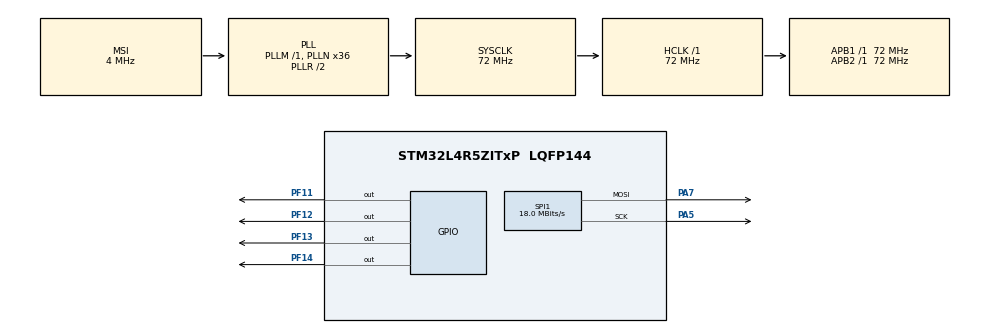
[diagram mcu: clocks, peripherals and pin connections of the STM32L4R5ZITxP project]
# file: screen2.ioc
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Dma.Request0=SPI1_TX
Dma.SPI1_TX.0.Direction=DMA_MEMORY_TO_PERIPH
Dma.SPI1_TX.0.EventEnable=DISABLE
Dma.SPI1_TX.0.Instance=DMA1_Channel1
Dma.SPI1_TX.0.MemDataAlignment=DMA_MDATAALIGN_BYTE
Dma.SPI1_TX.0.MemInc=DMA_MINC_ENABLE
Dma.SPI1_TX.0.Mode=DMA_NORMAL
Dma.SPI1_TX.0.PeriphDataAlignment=DMA_PDATAALIGN_BYTE
Dma.SPI1_TX.0.PeriphInc=DMA_PINC_DISABLE
Dma.SPI1_TX.0.Polarity=HAL_DMAMUX_REQUEST_GEN_RISING
Dma.SPI1_TX.0.Priority=DMA_PRIORITY_LOW
Dma.SPI1_TX.0.RequestNumber=1
Dma.SPI1_TX.0.SignalID=NONE
Dma.SPI1_TX.0.SyncEnable=DISABLE
Dma.SPI1_TX.0.SyncPolarity=HAL_DMAMUX_SYNC_NO_EVENT
Dma.SPI1_TX.0.SyncRequestNumber=1
Dma.SPI1_TX.0.SyncSignalID=NONE
Mcu.Family=STM32L4
Mcu.Name=STM32L4R5ZITxP
Mcu.Package=LQFP144
NVIC.DMA1_Channel1_IRQn=true\:0\:0\:false\:false\:true\:false\:true\:true
NVIC.PriorityGroup=NVIC_PRIORITYGROUP_4
PA0.Signal=S_TIM2_CH1
PA1.Signal=ADCx_IN6
PA10.Signal=USB_OTG_FS_ID
PA13\ (JTMS/SWDIO).Mode=Serial_Wire
PA13\ (JTMS/SWDIO).Signal=SYS_JTMS-SWDIO
PA14\ (JTCK/SWCLK).Mode=Serial_Wire
PA14\ (JTCK/SWCLK).Signal=SYS_JTCK-SWCLK
PA3.Signal=ADCx_IN8
PA4.Signal=SPI1_NSS
PA5.Mode=TX_Only_Simplex_Unidirect_Master
PA5.Signal=SPI1_SCK
PA6.Signal=SPI1_MISO
PA7.Mode=TX_Only_Simplex_Unidirect_Master
PA7.Signal=SPI1_MOSI
PA8.Signal=USB_OTG_FS_SOF
PA9.Signal=USB_OTG_FS_VBUS
PB0.Signal=S_TIM3_CH3
PB1.Signal=ADCx_IN16
PB10.Signal=S_TIM2_CH3
PB12.Signal=SAI2_FS_A
PB13.Signal=SAI2_SCK_A
PB14.Signal=S_TIM15_CH1
PB15.Signal=SAI2_SD_A
PB2.Signal=COMP1_INP
PB3\ (JTDO/TRACESWO).Signal=SPI3_SCK
PB4\ (NJTRST).Signal=SPI3_MISO
PB5.Signal=SPI3_MOSI
PB6.Signal=COMP2_INP
PB8.Signal=I2C1_SCL
PB9.Signal=I2C1_SDA
PC0.Signal=ADCx_IN1
PC1.Signal=ADCx_IN2
PC10.Signal=SDMMC1_D2
PC11.Signal=SDMMC1_D3
PC12.Signal=SDMMC1_CK
PC13.Signal=SYS_WKUP2
PC14-OSC32_IN\ (PC14).Signal=RCC_OSC32_IN
PC15-OSC32_OUT\ (PC15).Signal=RCC_OSC32_OUT
PC2.Signal=ADCx_IN3
PC3.Signal=ADCx_IN4
PC4.Signal=ADCx_IN13
PC5.Signal=ADCx_IN14
PC6.Signal=SAI2_MCLK_A
PC7.Signal=S_TIM3_CH2
PC8.Signal=SDMMC1_D0
PC9.Signal=SDMMC1_D1
PD0.Signal=CAN1_RX
PD14.Signal=S_TIM4_CH3
PD15.Signal=S_TIM4_CH4
PD2.Signal=SDMMC1_CMD
PD3.Signal=USART2_CTS
PD4.Signal=USART2_RTS
PD5.Signal=USART2_TX
PD6.Signal=USART2_RX
PD8.Signal=USART3_TX
PD9.Signal=USART3_RX
PE0.Signal=S_TIM4_ETR
PE10.Signal=TIM1_CH2N
PE11.Signal=S_TIM1_CH2
PE12.Signal=TIM1_CH3N
PE13.Signal=S_TIM1_CH3
PE14.Signal=TIM1_BKIN2
PE15.Signal=TIM1_BKIN
PE2.Signal=SAI1_MCLK_A
PE3.Signal=SAI1_SD_B
PE7.Signal=S_TIM1_ETR
PE8.Signal=TIM1_CH1N
PE9.Signal=S_TIM1_CH1
PF0.Signal=I2C2_SDA
PF1.Signal=I2C2_SCL
PF11.Signal=GPIO_Output
PF12.Signal=GPIO_Output
PF13.Signal=GPIO_Output
PF14.Signal=GPIO_Output
PF2.Signal=I2C2_SMBA
PF7.Signal=SAI1_MCLK_B
PG7.Signal=LPUART1_TX
PG8.Signal=LPUART1_RX
PH0-OSC_IN\ (PH0).Mode=HSE-External-Oscillator
PH0-OSC_IN\ (PH0).Signal=RCC_OSC_IN
PH1-OSC_OUT\ (PH1).Mode=HSE-External-Oscillator
PH1-OSC_OUT\ (PH1).Signal=RCC_OSC_OUT
ProjectManager.HeapSize=0x200
ProjectManager.StackSize=0x400
ProjectManager.TargetToolchain=STM32CubeIDE
RCC.AHBFreq_Value=72000000
RCC.APB1Freq_Value=72000000
RCC.APB1TimFreq_Value=72000000
RCC.APB2Freq_Value=72000000
RCC.APB2TimFreq_Value=72000000
RCC.CortexFreq_Value=72000000
RCC.HCLKFreq_Value=72000000
RCC.HSE_VALUE=8000000
RCC.HSI48_VALUE=48000000
RCC.HSI_VALUE=16000000
RCC.LSE_VALUE=32768
RCC.MSI_VALUE=4000000
RCC.PLLN=36
RCC.SYSCLKFreq_VALUE=72000000
RCC.SYSCLKSource=RCC_SYSCLKSOURCE_PLLCLK
RCC.VCOOutputFreq_Value=144000000
SH.ADCx_IN1.0=ADC1_IN1
SH.ADCx_IN13.0=ADC1_IN13
SH.ADCx_IN14.0=ADC1_IN14
SH.ADCx_IN16.0=ADC1_IN16
SH.ADCx_IN2.0=ADC1_IN2
SH.ADCx_IN3.0=ADC1_IN3
SH.ADCx_IN4.0=ADC1_IN4
SH.ADCx_IN6.0=ADC1_IN6
SH.ADCx_IN8.0=ADC1_IN8
SH.S_TIM15_CH1.0=TIM15_CH1
SH.S_TIM1_CH1.0=TIM1_CH1
SH.S_TIM1_CH2.0=TIM1_CH2
SH.S_TIM1_CH3.0=TIM1_CH3
SH.S_TIM1_ETR.0=TIM1_ETR
SH.S_TIM2_CH1.0=TIM2_CH1
SH.S_TIM2_CH3.0=TIM2_CH3
SH.S_TIM3_CH2.0=TIM3_CH2
SH.S_TIM3_CH3.0=TIM3_CH3
SH.S_TIM4_CH3.0=TIM4_CH3
SH.S_TIM4_CH4.0=TIM4_CH4
SH.S_TIM4_ETR.0=TIM4_ETR
SPI1.BaudRatePrescaler=SPI_BAUDRATEPRESCALER_4
SPI1.CalculateBaudRate=18.0 MBits/s
SPI1.DataSize=SPI_DATASIZE_8BIT
SPI1.Direction=SPI_DIRECTION_2LINES
SPI1.Mode=SPI_MODE_MASTER
SPI1.VirtualType=VM_MASTER
board=NUCLEO-L4R5ZI-P

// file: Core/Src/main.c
/* USER CODE BEGIN Header */
/**
  ******************************************************************************
  * @file           : main.c
  * @brief          : Main program body
  ******************************************************************************
  * @attention
  *
  * Copyright (c) 2023 STMicroelectronics.
  * All rights reserved.
  *
  * This software is licensed under terms that can be found in the LICENSE file
  * in the root directory of this software component.
  * If no LICENSE file comes with this software, it is provided AS-IS.
  *
  ******************************************************************************
  */
/* USER CODE END Header */
#include "main.h"

/* USER CODE BEGIN Includes */
#include "fonts.h"
#include "z_displ_ILI9XXX.h"
#include "z_displ_ILI9XXX_test.h"
#include "z_touch_XPT2046.h"
#include "z_touch_XPT2046_test.h"
#include "z_touch_XPT2046_menu.h"

/* USER CODE END Includes */

SPI_HandleTypeDef hspi1;
DMA_HandleTypeDef hdma_spi1_tx;

void SystemClock_Config(void);
static void MX_GPIO_Init(void);
static void MX_DMA_Init(void);
static void MX_SPI1_Init(void);

int main(void)
{

  /* MCU Configuration--------------------------------------------------------*/

  /* Reset of all peripherals, Initializes the Flash interface and the Systick. */
  HAL_Init();

  /* Configure the system clock */
  SystemClock_Config();

  /* Initialize all configured peripherals */
  MX_GPIO_Init();
  MX_DMA_Init();
  MX_SPI1_Init();
  /* USER CODE BEGIN 2 */
  ILI9341_Init();

  // Simple Text writing (Text, Font, X, Y, Color, BackColor)
  // Available Fonts are FONT1, FONT2, FONT3 and FONT4
  ILI9341_FillScreen(WHITE);
  ILI9341_SetRotation(SCREEN_HORIZONTAL_2);
  ILI9341_DrawText("1234567890123456789012345678901234567890", FONT1, 0, 110, BLACK, WHITE);
  ILI9341_DrawText("Zovic1, Jesus, Pranav, Daniel", FONT3, 0, 70, BLACK, WHITE);

  HAL_Delay(1000);

  //Writing numbers
  ILI9341_FillScreen(WHITE);
  static char BufferText[30];
  for(uint8_t i = 0; i <= 5; i++)
  {
    sprintf(BufferText, "COUNT : %d", i);
    ILI9341_DrawText(BufferText, FONT3, 10, 10, BLACK, WHITE);
    ILI9341_DrawText(BufferText, FONT3, 10, 30, BLUE, WHITE);
    ILI9341_DrawText(BufferText, FONT3, 10, 50, RED, WHITE);
    ILI9341_DrawText(BufferText, FONT3, 10, 70, GREEN, WHITE);
    ILI9341_DrawText(BufferText, FONT3, 10, 90, YELLOW, WHITE);
    ILI9341_DrawText(BufferText, FONT3, 10, 110, PURPLE, WHITE);
    ILI9341_DrawText(BufferText, FONT3, 10, 130, ORANGE, WHITE);
    ILI9341_DrawText(BufferText, FONT3, 10, 150, MAROON, WHITE);
    ILI9341_DrawText(BufferText, FONT3, 10, 170, WHITE, BLACK);
    ILI9341_DrawText(BufferText, FONT3, 10, 190, BLUE, BLACK);
  }

  // Horizontal Line (X, Y, Length, Color)
  ILI9341_FillScreen(WHITE);
  ILI9341_DrawHLine(50, 120, 200, NAVY);
  HAL_Delay(1000);

  // Vertical Line (X, Y, Length, Color)
  ILI9341_FillScreen(WHITE);
  ILI9341_DrawVLine(160, 40, 150, DARKGREEN);
  HAL_Delay(1000);

  // Hollow Circle (Centre X, Centre Y, Radius, Color)
  ILI9341_FillScreen(WHITE);
  ILI9341_DrawHollowCircle(160, 120, 80, PINK);
  HAL_Delay(1000);

  // Filled Circle (Centre X, Centre Y, Radius, Color)
  ILI9341_FillScreen(WHITE);
  ILI9341_DrawFilledCircle(160, 120, 50, CYAN);
  HAL_Delay(1000);

  // Filled Rectangle (Start X, Start Y, Length X, Length Y)
  ILI9341_FillScreen(WHITE);
  ILI9341_DrawRectangle(50, 50, 220, 140, GREENYELLOW);
  HAL_Delay(1000);

  // Hollow Rectangle (Start X, Start Y, End X, End Y)
  ILI9341_FillScreen(WHITE);
  ILI9341_DrawHollowRectangleCoord(50, 50, 270, 190, DARKCYAN);
  HAL_Delay(1000);

  // Simple Pixel Only (X, Y, Color)
  ILI9341_FillScreen(WHITE);
  ILI9341_DrawPixel(100, 100, BLACK);
  HAL_Delay(1000);
  /* USER CODE END 2 */

  /* Infinite loop */
  while (1)
  {

  }
}

void SystemClock_Config(void)
{
  RCC_OscInitTypeDef RCC_OscInitStruct = {0};
  RCC_ClkInitTypeDef RCC_ClkInitStruct = {0};

  /** Configure the main internal regulator output voltage
  */
  if (HAL_PWREx_ControlVoltageScaling(PWR_REGULATOR_VOLTAGE_SCALE1) != HAL_OK)
  {
    Error_Handler();
  }

  /** Initializes the RCC Oscillators according to the specified parameters
  * in the RCC_OscInitTypeDef structure.
  */
  RCC_OscInitStruct.OscillatorType = RCC_OSCILLATORTYPE_MSI;
  RCC_OscInitStruct.MSIState = RCC_MSI_ON;
  RCC_OscInitStruct.MSICalibrationValue = 0;
  RCC_OscInitStruct.MSIClockRange = RCC_MSIRANGE_6;
  RCC_OscInitStruct.PLL.PLLState = RCC_PLL_ON;
  RCC_OscInitStruct.PLL.PLLSource = RCC_PLLSOURCE_MSI;
  RCC_OscInitStruct.PLL.PLLM = 1;
  RCC_OscInitStruct.PLL.PLLN = 36;
  RCC_OscInitStruct.PLL.PLLP = RCC_PLLP_DIV2;
  RCC_OscInitStruct.PLL.PLLQ = RCC_PLLQ_DIV2;
  RCC_OscInitStruct.PLL.PLLR = RCC_PLLR_DIV2;
  if (HAL_RCC_OscConfig(&RCC_OscInitStruct) != HAL_OK)
  {
    Error_Handler();
  }

  /** Initializes the CPU, AHB and APB buses clocks
  */
  RCC_ClkInitStruct.ClockType = RCC_CLOCKTYPE_HCLK|RCC_CLOCKTYPE_SYSCLK
                              |RCC_CLOCKTYPE_PCLK1|RCC_CLOCKTYPE_PCLK2;
  RCC_ClkInitStruct.SYSCLKSource = RCC_SYSCLKSOURCE_PLLCLK;
  RCC_ClkInitStruct.AHBCLKDivider = RCC_SYSCLK_DIV1;
  RCC_ClkInitStruct.APB1CLKDivider = RCC_HCLK_DIV1;
  RCC_ClkInitStruct.APB2CLKDivider = RCC_HCLK_DIV1;

  if (HAL_RCC_ClockConfig(&RCC_ClkInitStruct, FLASH_LATENCY_3) != HAL_OK)
  {
    Error_Handler();
  }
}

static void MX_SPI1_Init(void)
{

  /* SPI1 parameter configuration*/
  hspi1.Instance = SPI1;
  hspi1.Init.Mode = SPI_MODE_MASTER;
  hspi1.Init.Direction = SPI_DIRECTION_2LINES;
  hspi1.Init.DataSize = SPI_DATASIZE_8BIT;
  hspi1.Init.CLKPolarity = SPI_POLARITY_LOW;
  hspi1.Init.CLKPhase = SPI_PHASE_1EDGE;
  hspi1.Init.NSS = SPI_NSS_SOFT;
  hspi1.Init.BaudRatePrescaler = SPI_BAUDRATEPRESCALER_4;
  hspi1.Init.FirstBit = SPI_FIRSTBIT_MSB;
  hspi1.Init.TIMode = SPI_TIMODE_DISABLE;
  hspi1.Init.CRCCalculation = SPI_CRCCALCULATION_DISABLE;
  hspi1.Init.CRCPolynomial = 7;
  hspi1.Init.CRCLength = SPI_CRC_LENGTH_DATASIZE;
  hspi1.Init.NSSPMode = SPI_NSS_PULSE_ENABLE;
  if (HAL_SPI_Init(&hspi1) != HAL_OK)
  {
    Error_Handler();
  }

}

static void MX_DMA_Init(void)
{

  /* DMA controller clock enable */
  __HAL_RCC_DMAMUX1_CLK_ENABLE();
  __HAL_RCC_DMA1_CLK_ENABLE();

  /* DMA interrupt init */
  /* DMA1_Channel1_IRQn interrupt configuration */
  HAL_NVIC_SetPriority(DMA1_Channel1_IRQn, 0, 0);
  HAL_NVIC_EnableIRQ(DMA1_Channel1_IRQn);

}

static void MX_GPIO_Init(void)
{
  GPIO_InitTypeDef GPIO_InitStruct = {0};

  /* GPIO Ports Clock Enable */
  __HAL_RCC_GPIOE_CLK_ENABLE();
  __HAL_RCC_GPIOC_CLK_ENABLE();
  __HAL_RCC_GPIOF_CLK_ENABLE();
  __HAL_RCC_GPIOH_CLK_ENABLE();
  __HAL_RCC_GPIOA_CLK_ENABLE();
  __HAL_RCC_GPIOB_CLK_ENABLE();
  __HAL_RCC_GPIOD_CLK_ENABLE();
  __HAL_RCC_GPIOG_CLK_ENABLE();
  HAL_PWREx_EnableVddIO2();

  /*Configure GPIO pin Output Level */
  HAL_GPIO_WritePin(GPIOF, GPIO_PIN_11|GPIO_PIN_12|GPIO_PIN_13|GPIO_PIN_14, GPIO_PIN_RESET);

  /*Configure GPIO pins : PE2 PE3 */
  GPIO_InitStruct.Pin = GPIO_PIN_2|GPIO_PIN_3;
  GPIO_InitStruct.Mode = GPIO_MODE_AF_PP;
  GPIO_InitStruct.Pull = GPIO_NOPULL;
  GPIO_InitStruct.Speed = GPIO_SPEED_FREQ_LOW;
  GPIO_InitStruct.Alternate = GPIO_AF13_SAI1;
  HAL_GPIO_Init(GPIOE, &GPIO_InitStruct);

  /*Configure GPIO pins : PF0 PF1 PF2 */
  GPIO_InitStruct.Pin = GPIO_PIN_0|GPIO_PIN_1|GPIO_PIN_2;
  GPIO_InitStruct.Mode = GPIO_MODE_AF_OD;
  GPIO_InitStruct.Pull = GPIO_NOPULL;
  GPIO_InitStruct.Speed = GPIO_SPEED_FREQ_VERY_HIGH;
  GPIO_InitStruct.Alternate = GPIO_AF4_I2C2;
  HAL_GPIO_Init(GPIOF, &GPIO_InitStruct);

  /*Configure GPIO pin : PF7 */
  GPIO_InitStruct.Pin = GPIO_PIN_7;
  GPIO_InitStruct.Mode = GPIO_MODE_AF_PP;
  GPIO_InitStruct.Pull = GPIO_NOPULL;
  GPIO_InitStruct.Speed = GPIO_SPEED_FREQ_LOW;
  GPIO_InitStruct.Alternate = GPIO_AF13_SAI1;
  HAL_GPIO_Init(GPIOF, &GPIO_InitStruct);

  /*Configure GPIO pins : PC0 PC1 PC2 PC3
                           PC4 PC5 */
  GPIO_InitStruct.Pin = GPIO_PIN_0|GPIO_PIN_1|GPIO_PIN_2|GPIO_PIN_3
                          |GPIO_PIN_4|GPIO_PIN_5;
  GPIO_InitStruct.Mode = GPIO_MODE_ANALOG_ADC_CONTROL;
  GPIO_InitStruct.Pull = GPIO_NOPULL;
  HAL_GPIO_Init(GPIOC, &GPIO_InitStruct);

  /*Configure GPIO pin : PA0 */
  GPIO_InitStruct.Pin = GPIO_PIN_0;
  GPIO_InitStruct.Mode = GPIO_MODE_AF_PP;
  GPIO_InitStruct.Pull = GPIO_NOPULL;
  GPIO_InitStruct.Speed = GPIO_SPEED_FREQ_LOW;
  GPIO_InitStruct.Alternate = GPIO_AF1_TIM2;
  HAL_GPIO_Init(GPIOA, &GPIO_InitStruct);

  /*Configure GPIO pins : PA1 PA3 */
  GPIO_InitStruct.Pin = GPIO_PIN_1|GPIO_PIN_3;
  GPIO_InitStruct.Mode = GPIO_MODE_ANALOG_ADC_CONTROL;
  GPIO_InitStruct.Pull = GPIO_NOPULL;
  HAL_GPIO_Init(GPIOA, &GPIO_InitStruct);

  /*Configure GPIO pin : PB0 */
  GPIO_InitStruct.Pin = GPIO_PIN_0;
  GPIO_InitStruct.Mode = GPIO_MODE_AF_PP;
  GPIO_InitStruct.Pull = GPIO_NOPULL;
  GPIO_InitStruct.Speed = GPIO_SPEED_FREQ_LOW;
  GPIO_InitStruct.Alternate = GPIO_AF2_TIM3;
  HAL_GPIO_Init(GPIOB, &GPIO_InitStruct);

  /*Configure GPIO pin : PB1 */
  GPIO_InitStruct.Pin = GPIO_PIN_1;
  GPIO_InitStruct.Mode = GPIO_MODE_ANALOG_ADC_CONTROL;
  GPIO_InitStruct.Pull = GPIO_NOPULL;
  HAL_GPIO_Init(GPIOB, &GPIO_InitStruct);

  /*Configure GPIO pins : PB2 PB6 */
  GPIO_InitStruct.Pin = GPIO_PIN_2|GPIO_PIN_6;
  GPIO_InitStruct.Mode = GPIO_MODE_ANALOG;
  GPIO_InitStruct.Pull = GPIO_NOPULL;
  HAL_GPIO_Init(GPIOB, &GPIO_InitStruct);

  /*Configure GPIO pins : PF11 PF12 PF13 PF14 */
  GPIO_InitStruct.Pin = GPIO_PIN_11|GPIO_PIN_12|GPIO_PIN_13|GPIO_PIN_14;
  GPIO_InitStruct.Mode = GPIO_MODE_OUTPUT_PP;
  GPIO_InitStruct.Pull = GPIO_NOPULL;
  GPIO_InitStruct.Speed = GPIO_SPEED_FREQ_LOW;
  HAL_GPIO_Init(GPIOF, &GPIO_InitStruct);

  /*Configure GPIO pins : PE7 PE8 PE9 PE10
                           PE11 PE12 PE13 */
  GPIO_InitStruct.Pin = GPIO_PIN_7|GPIO_PIN_8|GPIO_PIN_9|GPIO_PIN_10
                          |GPIO_PIN_11|GPIO_PIN_12|GPIO_PIN_13;
  GPIO_InitStruct.Mode = GPIO_MODE_AF_PP;
  GPIO_InitStruct.Pull = GPIO_NOPULL;
  GPIO_InitStruct.Speed = GPIO_SPEED_FREQ_LOW;
  GPIO_InitStruct.Alternate = GPIO_AF1_TIM1;
  HAL_GPIO_Init(GPIOE, &GPIO_InitStruct);

  /*Configure GPIO pins : PE14 PE15 */
  GPIO_InitStruct.Pin = GPIO_PIN_14|GPIO_PIN_15;
  GPIO_InitStruct.Mode = GPIO_MODE_AF_PP;
  GPIO_InitStruct.Pull = GPIO_NOPULL;
  GPIO_InitStruct.Speed = GPIO_SPEED_FREQ_LOW;
  GPIO_InitStruct.Alternate = GPIO_AF3_TIM1_COMP1;
  HAL_GPIO_Init(GPIOE, &GPIO_InitStruct);

  /*Configure GPIO pin : PB10 */
  GPIO_InitStruct.Pin = GPIO_PIN_10;
  GPIO_InitStruct.Mode = GPIO_MODE_AF_PP;
  GPIO_InitStruct.Pull = GPIO_NOPULL;
  GPIO_InitStruct.Speed = GPIO_SPEED_FREQ_LOW;
  GPIO_InitStruct.Alternate = GPIO_AF1_TIM2;
  HAL_GPIO_Init(GPIOB, &GPIO_InitStruct);

  /*Configure GPIO pins : PB12 PB13 PB15 */
  GPIO_InitStruct.Pin = GPIO_PIN_12|GPIO_PIN_13|GPIO_PIN_15;
  GPIO_InitStruct.Mode = GPIO_MODE_AF_PP;
  GPIO_InitStruct.Pull = GPIO_NOPULL;
  GPIO_InitStruct.Speed = GPIO_SPEED_FREQ_LOW;
  GPIO_InitStruct.Alternate = GPIO_AF13_SAI2;
  HAL_GPIO_Init(GPIOB, &GPIO_InitStruct);

  /*Configure GPIO pin : PB14 */
  GPIO_InitStruct.Pin = GPIO_PIN_14;
  GPIO_InitStruct.Mode = GPIO_MODE_AF_PP;
  GPIO_InitStruct.Pull = GPIO_NOPULL;
  GPIO_InitStruct.Speed = GPIO_SPEED_FREQ_LOW;
  GPIO_InitStruct.Alternate = GPIO_AF14_TIM15;
  HAL_GPIO_Init(GPIOB, &GPIO_InitStruct);

  /*Configure GPIO pins : PD8 PD9 */
  GPIO_InitStruct.Pin = GPIO_PIN_8|GPIO_PIN_9;
  GPIO_InitStruct.Mode = GPIO_MODE_AF_PP;
  GPIO_InitStruct.Pull = GPIO_NOPULL;
  GPIO_InitStruct.Speed = GPIO_SPEED_FREQ_VERY_HIGH;
  GPIO_InitStruct.Alternate = GPIO_AF7_USART3;
  HAL_GPIO_Init(GPIOD, &GPIO_InitStruct);

  /*Configure GPIO pins : PD14 PD15 */
  GPIO_InitStruct.Pin = GPIO_PIN_14|GPIO_PIN_15;
  GPIO_InitStruct.Mode = GPIO_MODE_AF_PP;
  GPIO_InitStruct.Pull = GPIO_NOPULL;
  GPIO_InitStruct.Speed = GPIO_SPEED_FREQ_LOW;
  GPIO_InitStruct.Alternate = GPIO_AF2_TIM4;
  HAL_GPIO_Init(GPIOD, &GPIO_InitStruct);

  /*Configure GPIO pins : PG7 PG8 */
  GPIO_InitStruct.Pin = GPIO_PIN_7|GPIO_PIN_8;
  GPIO_InitStruct.Mode = GPIO_MODE_AF_PP;
  GPIO_InitStruct.Pull = GPIO_NOPULL;
  GPIO_InitStruct.Speed = GPIO_SPEED_FREQ_VERY_HIGH;
  GPIO_InitStruct.Alternate = GPIO_AF8_LPUART1;
  HAL_GPIO_Init(GPIOG, &GPIO_InitStruct);

  /*Configure GPIO pin : PC6 */
  GPIO_InitStruct.Pin = GPIO_PIN_6;
  GPIO_InitStruct.Mode = GPIO_MODE_AF_PP;
  GPIO_InitStruct.Pull = GPIO_NOPULL;
  GPIO_InitStruct.Speed = GPIO_SPEED_FREQ_LOW;
  GPIO_InitStruct.Alternate = GPIO_AF13_SAI2;
  HAL_GPIO_Init(GPIOC, &GPIO_InitStruct);

  /*Configure GPIO pin : PC7 */
  GPIO_InitStruct.Pin = GPIO_PIN_7;
  GPIO_InitStruct.Mode = GPIO_MODE_AF_PP;
  GPIO_InitStruct.Pull = GPIO_NOPULL;
  GPIO_InitStruct.Speed = GPIO_SPEED_FREQ_LOW;
  GPIO_InitStruct.Alternate = GPIO_AF2_TIM3;
  HAL_GPIO_Init(GPIOC, &GPIO_InitStruct);

  /*Configure GPIO pins : PC8 PC9 PC10 PC11
                           PC12 */
  GPIO_InitStruct.Pin = GPIO_PIN_8|GPIO_PIN_9|GPIO_PIN_10|GPIO_PIN_11
                          |GPIO_PIN_12;
  GPIO_InitStruct.Mode = GPIO_MODE_AF_PP;
  GPIO_InitStruct.Pull = GPIO_NOPULL;
  GPIO_InitStruct.Speed = GPIO_SPEED_FREQ_VERY_HIGH;
  GPIO_InitStruct.Alternate = GPIO_AF12_SDMMC1;
  HAL_GPIO_Init(GPIOC, &GPIO_InitStruct);

  /*Configure GPIO pins : PA8 PA10 */
  GPIO_InitStruct.Pin = GPIO_PIN_8|GPIO_PIN_10;
  GPIO_InitStruct.Mode = GPIO_MODE_AF_PP;
  GPIO_InitStruct.Pull = GPIO_NOPULL;
  GPIO_InitStruct.Speed = GPIO_SPEED_FREQ_VERY_HIGH;
  GPIO_InitStruct.Alternate = GPIO_AF10_OTG_FS;
  HAL_GPIO_Init(GPIOA, &GPIO_InitStruct);

  /*Configure GPIO pin : PA9 */
  GPIO_InitStruct.Pin = GPIO_PIN_9;
  GPIO_InitStruct.Mode = GPIO_MODE_INPUT;
  GPIO_InitStruct.Pull = GPIO_NOPULL;
  HAL_GPIO_Init(GPIOA, &GPIO_InitStruct);

  /*Configure GPIO pin : PD0 */
  GPIO_InitStruct.Pin = GPIO_PIN_0;
  GPIO_InitStruct.Mode = GPIO_MODE_AF_PP;
  GPIO_InitStruct.Pull = GPIO_NOPULL;
  GPIO_InitStruct.Speed = GPIO_SPEED_FREQ_VERY_HIGH;
  GPIO_InitStruct.Alternate = GPIO_AF9_CAN1;
  HAL_GPIO_Init(GPIOD, &GPIO_InitStruct);

  /*Configure GPIO pin : PD2 */
  GPIO_InitStruct.Pin = GPIO_PIN_2;
  GPIO_InitStruct.Mode = GPIO_MODE_AF_PP;
  GPIO_InitStruct.Pull = GPIO_NOPULL;
  GPIO_InitStruct.Speed = GPIO_SPEED_FREQ_VERY_HIGH;
  GPIO_InitStruct.Alternate = GPIO_AF12_SDMMC1;
  HAL_GPIO_Init(GPIOD, &GPIO_InitStruct);

  /*Configure GPIO pins : PD3 PD4 PD5 PD6 */
  GPIO_InitStruct.Pin = GPIO_PIN_3|GPIO_PIN_4|GPIO_PIN_5|GPIO_PIN_6;
  GPIO_InitStruct.Mode = GPIO_MODE_AF_PP;
  GPIO_InitStruct.Pull = GPIO_NOPULL;
  GPIO_InitStruct.Speed = GPIO_SPEED_FREQ_VERY_HIGH;
  GPIO_InitStruct.Alternate = GPIO_AF7_USART2;
  HAL_GPIO_Init(GPIOD, &GPIO_InitStruct);

  /*Configure GPIO pins : PB3 PB4 PB5 */
  GPIO_InitStruct.Pin = GPIO_PIN_3|GPIO_PIN_4|GPIO_PIN_5;
  GPIO_InitStruct.Mode = GPIO_MODE_AF_PP;
  GPIO_InitStruct.Pull = GPIO_NOPULL;
  GPIO_InitStruct.Speed = GPIO_SPEED_FREQ_VERY_HIGH;
  GPIO_InitStruct.Alternate = GPIO_AF6_SPI3;
  HAL_GPIO_Init(GPIOB, &GPIO_InitStruct);

  /*Configure GPIO pins : PB8 PB9 */
  GPIO_InitStruct.Pin = GPIO_PIN_8|GPIO_PIN_9;
  GPIO_InitStruct.Mode = GPIO_MODE_AF_OD;
  GPIO_InitStruct.Pull = GPIO_NOPULL;
  GPIO_InitStruct.Speed = GPIO_SPEED_FREQ_VERY_HIGH;
  GPIO_InitStruct.Alternate = GPIO_AF4_I2C1;
  HAL_GPIO_Init(GPIOB, &GPIO_InitStruct);

  /*Configure GPIO pin : PE0 */
  GPIO_InitStruct.Pin = GPIO_PIN_0;
  GPIO_InitStruct.Mode = GPIO_MODE_AF_PP;
  GPIO_InitStruct.Pull = GPIO_NOPULL;
  GPIO_InitStruct.Speed = GPIO_SPEED_FREQ_LOW;
  GPIO_InitStruct.Alternate = GPIO_AF2_TIM4;
  HAL_GPIO_Init(GPIOE, &GPIO_InitStruct);

}

void Error_Handler(void)
{
  __disable_irq();
  while (1)
  {
  }
}
